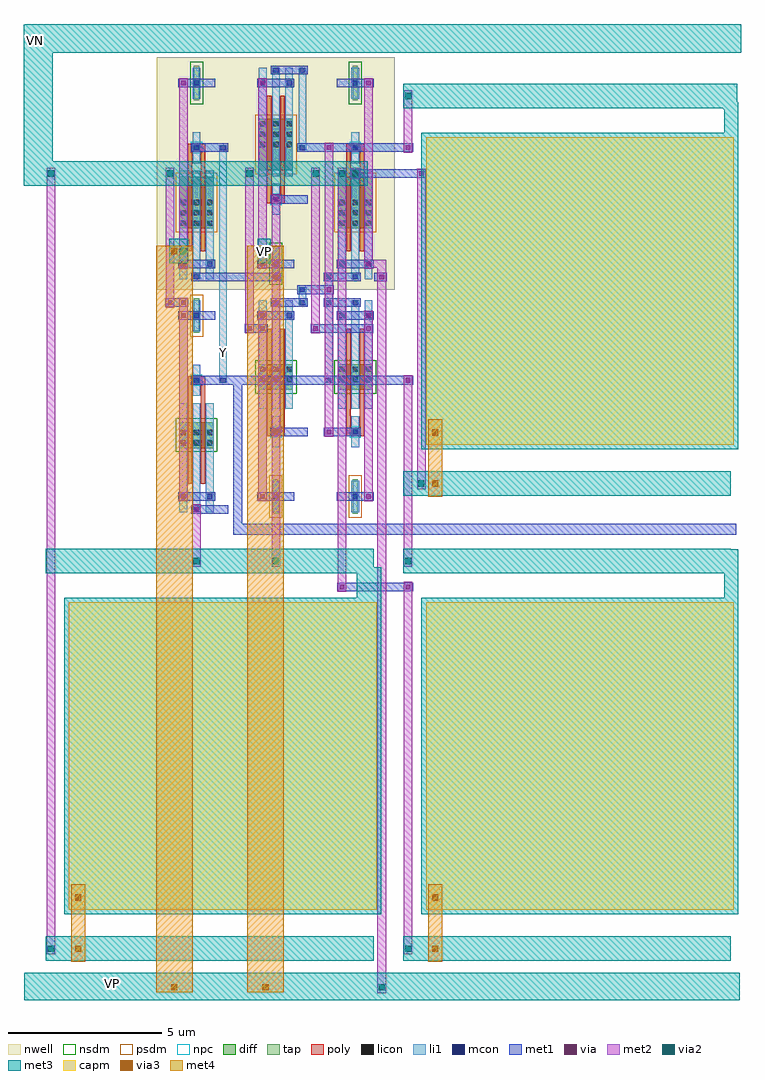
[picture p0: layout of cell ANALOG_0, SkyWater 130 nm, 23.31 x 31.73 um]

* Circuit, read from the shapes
.subckt ANALOG_0 VN VP Y
XM1 n1 Y VN VN sky130_fd_pr__nfet_01v8 w=0.84 l=0.15 m=2
XM2 n2 n1 VN VN sky130_fd_pr__nfet_01v8 w=0.84 l=0.15 m=2
XM3 Y n2 VN VN sky130_fd_pr__nfet_01v8 w=0.84 l=0.15 m=2
XM4 n1 Y VP VP sky130_fd_pr__pfet_01v8 w=1.68 l=0.15 m=2
XM5 n2 n1 VP VP sky130_fd_pr__pfet_01v8 w=1.68 l=0.15 m=2
XM6 Y n2 VP VP sky130_fd_pr__pfet_01v8 w=1.68 l=0.15 m=2
XC7 VN n1 sky130_fd_pr__cap_mim_m3_1 w=10 l=10
XC8 VN Y sky130_fd_pr__cap_mim_m3_1 w=10 l=10
XC9 VN n2 sky130_fd_pr__cap_mim_m3_1 w=10 l=10
.ends

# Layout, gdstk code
from math import pi, radians
import gdstk
lib = gdstk.Library(unit=1e-6, precision=1e-09)
def R(c, l, rs):  # rectangles x0, y0, x1, y1
    for r in rs: c.add(gdstk.rectangle(r[:2], r[2:], *l))
def A(c, l, x, y, w, h, nx, ny, dx, dy):  # array of equal rectangles
    R(c, l, [(x+i*dx, y+j*dy, x+i*dx+w, y+j*dy+h) for i in range(nx) for j in range(ny)])
nwell = (64, 20)
diff = (65, 20)
tap = (65, 44)
poly = (66, 20)
licon = (66, 44)
li1 = (67, 20)
mcon = (67, 44)
met1 = (68, 20)
via = (68, 44)
met2 = (69, 20)
via2 = (69, 44)
met3 = (70, 20)
via3 = (70, 44)
met4 = (71, 20)
capm = (89, 44)
nsdm = (93, 44)
psdm = (94, 20)
npc = (95, 20)

pmos_s_89421238_x1_y1_16 = lib.new_cell('PMOS_S_89421238_X1_Y1_1677518946')
R(pmos_s_89421238_x1_y1_16, nwell, [(0,0,2.58,7.56)])
R(pmos_s_89421238_x1_y1_16, diff, [(0.735,1.995,1.845,3.675)])
R(pmos_s_89421238_x1_y1_16, tap, [(1.205,6.16,1.375,7.28)])
R(pmos_s_89421238_x1_y1_16, poly, [(1,1.26,1.15,4.485), (1.43,1.26,1.58,4.485), (1,4.485,1.58,4.755)])
A(pmos_s_89421238_x1_y1_16, licon, 0.775, 2.075, 0.17, 0.17, 3, 3, 0.43, 0.34)
R(pmos_s_89421238_x1_y1_16, licon, [(1.205,4.535,1.375,4.705), (1.205,6.635,1.375,6.805)])
A(pmos_s_89421238_x1_y1_16, li1, 0.735, 0.335, 0.25, 3.53, 3, 1, 0.43, 0)
R(pmos_s_89421238_x1_y1_16, li1, [(1.165,4.115,1.415,5.125), (1.165,6.215,1.415,7.225)])
R(pmos_s_89421238_x1_y1_16, mcon, [(1.205,0.335,1.375,0.505), (0.775,0.755,0.945,0.925), (1.635,0.755,1.805,0.925), (1.205,4.535,1.375,4.705), (1.205,6.635,1.375,6.805)])
R(pmos_s_89421238_x1_y1_16, met1, [(0.26,0.28,1.46,0.56), (0.69,0.7,1.89,0.98), (0.26,4.48,1.46,4.76), (0.69,6.58,1.89,6.86)])
R(pmos_s_89421238_x1_y1_16, via, [(1.645,0.765,1.795,0.915), (1.645,6.645,1.795,6.795)])
R(pmos_s_89421238_x1_y1_16, met2, [(1.58,0.68,1.86,6.88)])
R(pmos_s_89421238_x1_y1_16, nsdm, [(1.08,6.035,1.5,7.405)])
R(pmos_s_89421238_x1_y1_16, psdm, [(0.61,1.87,1.97,3.8)])
R(pmos_s_89421238_x1_y1_16, npc, [(1.105,4.435,1.475,4.805)])

nmos_s_25628869_x1_y1_16 = lib.new_cell('NMOS_S_25628869_X1_Y1_1677518945')
R(nmos_s_25628869_x1_y1_16, diff, [(0.735,2.415,1.845,3.255)])
R(nmos_s_25628869_x1_y1_16, tap, [(1.205,6.16,1.375,7.28)])
R(nmos_s_25628869_x1_y1_16, poly, [(1,1.26,1.15,4.485), (1.43,1.26,1.58,4.485), (1,4.485,1.58,4.755)])
A(nmos_s_25628869_x1_y1_16, licon, 0.775, 2.495, 0.17, 0.17, 3, 2, 0.43, 0.34)
R(nmos_s_25628869_x1_y1_16, licon, [(1.205,4.535,1.375,4.705), (1.205,6.635,1.375,6.805)])
A(nmos_s_25628869_x1_y1_16, li1, 0.735, 0.335, 0.25, 3.53, 3, 1, 0.43, 0)
R(nmos_s_25628869_x1_y1_16, li1, [(1.165,4.115,1.415,5.125), (1.165,6.215,1.415,7.225)])
R(nmos_s_25628869_x1_y1_16, mcon, [(1.205,0.335,1.375,0.505), (0.775,0.755,0.945,0.925), (1.635,0.755,1.805,0.925), (1.205,4.535,1.375,4.705), (1.205,6.635,1.375,6.805)])
R(nmos_s_25628869_x1_y1_16, met1, [(0.26,0.28,1.46,0.56), (0.69,0.7,1.89,0.98), (0.26,4.48,1.46,4.76), (0.69,6.58,1.89,6.86)])
R(nmos_s_25628869_x1_y1_16, via, [(1.645,0.765,1.795,0.915), (1.645,6.645,1.795,6.795)])
R(nmos_s_25628869_x1_y1_16, met2, [(1.58,0.68,1.86,6.88)])
R(nmos_s_25628869_x1_y1_16, nsdm, [(0.61,2.29,1.97,3.38)])
R(nmos_s_25628869_x1_y1_16, psdm, [(1.08,6.035,1.5,7.405)])
R(nmos_s_25628869_x1_y1_16, npc, [(1.105,4.435,1.475,4.805)])

c_pmos_s_89421238_x1_y1_16 = lib.new_cell('PMOS_S_89421238_X1_Y1_1677518942_1677518943')
R(c_pmos_s_89421238_x1_y1_16, nwell, [(0,0,2.58,7.56)])
R(c_pmos_s_89421238_x1_y1_16, diff, [(0.735,1.995,1.845,3.675)])
R(c_pmos_s_89421238_x1_y1_16, tap, [(1.205,6.16,1.375,7.28)])
R(c_pmos_s_89421238_x1_y1_16, poly, [(1,1.26,1.15,4.485), (1.43,1.26,1.58,4.485), (1,4.485,1.58,4.755)])
A(c_pmos_s_89421238_x1_y1_16, licon, 0.775, 2.075, 0.17, 0.17, 3, 3, 0.43, 0.34)
R(c_pmos_s_89421238_x1_y1_16, licon, [(1.205,4.535,1.375,4.705), (1.205,6.635,1.375,6.805)])
A(c_pmos_s_89421238_x1_y1_16, li1, 0.735, 0.335, 0.25, 3.53, 3, 1, 0.43, 0)
R(c_pmos_s_89421238_x1_y1_16, li1, [(1.165,4.115,1.415,5.125), (1.165,6.215,1.415,7.225)])
R(c_pmos_s_89421238_x1_y1_16, mcon, [(1.205,0.335,1.375,0.505), (0.775,0.755,0.945,0.925), (1.635,0.755,1.805,0.925), (1.205,4.535,1.375,4.705), (1.205,6.635,1.375,6.805)])
R(c_pmos_s_89421238_x1_y1_16, met1, [(0.26,0.28,1.46,0.56), (0.69,0.7,1.89,0.98), (0.26,4.48,1.46,4.76), (0.69,6.58,1.89,6.86)])
R(c_pmos_s_89421238_x1_y1_16, via, [(1.645,0.765,1.795,0.915), (1.645,6.645,1.795,6.795)])
R(c_pmos_s_89421238_x1_y1_16, met2, [(1.58,0.68,1.86,6.88)])
R(c_pmos_s_89421238_x1_y1_16, nsdm, [(1.08,6.035,1.5,7.405)])
R(c_pmos_s_89421238_x1_y1_16, psdm, [(0.61,1.87,1.97,3.8)])
R(c_pmos_s_89421238_x1_y1_16, npc, [(1.105,4.435,1.475,4.805)])

c_nmos_s_25628869_x1_y1_16 = lib.new_cell('NMOS_S_25628869_X1_Y1_1677518941_1677518943')
R(c_nmos_s_25628869_x1_y1_16, diff, [(0.735,2.415,1.845,3.255)])
R(c_nmos_s_25628869_x1_y1_16, tap, [(1.205,6.16,1.375,7.28)])
R(c_nmos_s_25628869_x1_y1_16, poly, [(1,1.26,1.15,4.485), (1.43,1.26,1.58,4.485), (1,4.485,1.58,4.755)])
A(c_nmos_s_25628869_x1_y1_16, licon, 0.775, 2.495, 0.17, 0.17, 3, 2, 0.43, 0.34)
R(c_nmos_s_25628869_x1_y1_16, licon, [(1.205,4.535,1.375,4.705), (1.205,6.635,1.375,6.805)])
A(c_nmos_s_25628869_x1_y1_16, li1, 0.735, 0.335, 0.25, 3.53, 3, 1, 0.43, 0)
R(c_nmos_s_25628869_x1_y1_16, li1, [(1.165,4.115,1.415,5.125), (1.165,6.215,1.415,7.225)])
R(c_nmos_s_25628869_x1_y1_16, mcon, [(1.205,0.335,1.375,0.505), (0.775,0.755,0.945,0.925), (1.635,0.755,1.805,0.925), (1.205,4.535,1.375,4.705), (1.205,6.635,1.375,6.805)])
R(c_nmos_s_25628869_x1_y1_16, met1, [(0.26,0.28,1.46,0.56), (0.69,0.7,1.89,0.98), (0.26,4.48,1.46,4.76), (0.69,6.58,1.89,6.86)])
R(c_nmos_s_25628869_x1_y1_16, via, [(1.645,0.765,1.795,0.915), (1.645,6.645,1.795,6.795)])
R(c_nmos_s_25628869_x1_y1_16, met2, [(1.58,0.68,1.86,6.88)])
R(c_nmos_s_25628869_x1_y1_16, nsdm, [(0.61,2.29,1.97,3.38)])
R(c_nmos_s_25628869_x1_y1_16, psdm, [(1.08,6.035,1.5,7.405)])
R(c_nmos_s_25628869_x1_y1_16, npc, [(1.105,4.435,1.475,4.805)])

inv_21850877_pg0_0_0_167 = lib.new_cell('INV_21850877_PG0_0_0_1677518943')
R(inv_21850877_pg0_0_0_167, li1, [(0.305,7.055,0.555,8.065)])
R(inv_21850877_pg0_0_0_167, mcon, [(0.345,7.055,0.515,7.225), (0.345,7.895,0.515,8.065)])
R(inv_21850877_pg0_0_0_167, met1, [(0.27,2.8,0.59,3.08), (0.26,7,0.6,7.28), (0.26,7.84,0.6,8.12), (0.27,12.04,0.59,12.32)])
R(inv_21850877_pg0_0_0_167, via, [(0.355,2.865,0.505,3.015), (0.355,12.105,0.505,12.255)])
R(inv_21850877_pg0_0_0_167, met2, [(0.29,2.78,0.57,12.34)])
inv_21850877_pg0_0_0_167.add(gdstk.Reference(c_pmos_s_89421238_x1_y1_16, (0,7.56)))
inv_21850877_pg0_0_0_167.add(gdstk.Reference(c_nmos_s_25628869_x1_y1_16, (0,7.56), x_reflection=True))

cap_2t_51284459_16775189 = lib.new_cell('CAP_2T_51284459_1677518944')
R(cap_2t_51284459_16775189, met3, [(0.265,0.86,10.915,1.66), (0.86,2.37,11.16,12.67), (10.71,12.67,11.16,13.46), (0.265,13.46,11.16,13.66), (0.265,13.66,10.915,14.26)])
R(cap_2t_51284459_16775189, via3, [(1.21,1.16,1.41,1.36), (1.21,2.82,1.41,3.02)])
R(cap_2t_51284459_16775189, met4, [(1.085,0.83,1.535,3.35)])
R(cap_2t_51284459_16775189, capm, [(1.01,2.52,11.01,12.52)])

analog_0 = lib.new_cell('ANALOG_0')
R(analog_0, li1, [(5.895,19.655,6.145,27.385), (9.335,19.655,9.585,22.26), (8.475,22.175,8.725,22.765), (8.475,27.215,8.725,29.905)])
R(analog_0, mcon, [(5.935,19.655,6.105,19.825), (9.375,19.655,9.545,19.825), (8.515,22.175,8.685,22.345), (8.515,22.595,8.685,22.765), (5.935,27.215,6.105,27.385), (8.515,27.215,8.685,27.385), (8.515,29.735,8.685,29.905)])
R(analog_0, met1, [(9.73,12.88,12.2,13.16), (6.35,14.71,22.71,15.07), (6.35,15.07,6.65,19.6), (5,15.4,5.32,15.68), (7.58,17.92,7.9,18.2), (5.85,19.6,12.2,19.88), (6.72,21.28,7.47,21.56), (8.87,21.28,10.91,21.56), (4.14,22.12,4.89,22.4), (8.43,22.12,8.77,22.4), (8.43,22.54,9.62,22.82), (6.02,22.96,7.9,23.24), (10.93,22.96,11.34,23.24), (7.58,25.48,7.9,25.76), (10.16,26.32,12.63,26.6), (5.85,27.16,6.19,27.44), (8.43,27.16,9.46,27.44), (10.32,27.16,12.2,27.44), (8.43,29.68,8.77,29.96)])
A(analog_0, via, 7.235, 21.345, 0.15, 0.15, 3, 1, 1.72, 0)
R(analog_0, via, [(9.815,12.945,9.965,13.095), (11.965,12.945,12.115,13.095), (5.085,15.465,5.235,15.615), (7.665,17.985,7.815,18.135), (11.965,19.665,12.115,19.815), (6.805,21.345,6.955,21.495), (4.225,22.185,4.375,22.335), (4.655,22.185,4.805,22.335), (9.385,22.605,9.535,22.755), (7.665,23.025,7.815,23.175), (11.105,23.025,11.255,23.175), (7.665,25.545,7.815,25.695), (10.245,26.385,10.395,26.535), (12.395,26.385,12.545,26.535), (11.965,27.225,12.115,27.375)])
R(analog_0, met2, [(11.04,-0.185,11.32,23.39), (0.29,1.075,0.57,26.645), (11.9,1.075,12.18,13.18), (9.75,12.86,10.03,26.645), (5.02,13.675,5.3,15.7), (7.6,13.675,7.88,25.78), (11.9,13.675,12.18,19.9), (12.33,16.195,12.61,26.62), (6.74,21.26,7.02,26.645), (7.17,21.26,7.45,21.58), (8.89,21.26,9.17,26.645), (10.61,21.26,10.89,21.58), (4.59,21.84,4.87,22.42), (4.16,22.1,4.44,26.645), (9.32,22.52,9.6,22.84), (10.62,23.39,11.32,23.65), (4.59,23.755,4.87,24.125), (7.17,23.755,7.45,24.125), (10.18,26.275,10.46,26.645), (11.9,27.14,12.18,29.165)])
R(analog_0, via2, [(11.08,-0.1,11.28,0.1), (0.33,1.16,0.53,1.36), (11.94,1.16,12.14,1.36), (5.06,13.76,5.26,13.96), (7.64,13.76,7.84,13.96), (11.94,13.76,12.14,13.96), (12.37,16.28,12.57,16.48), (4.63,23.84,4.83,24.04), (7.21,23.84,7.41,24.04), (0.33,26.36,0.53,26.56), (4.2,26.36,4.4,26.56), (6.78,26.36,6.98,26.56), (8.93,26.36,9.13,26.56), (9.79,26.36,9.99,26.56), (10.22,26.36,10.42,26.56), (11.94,28.88,12.14,29.08)])
R(analog_0, met3, [(-0.44,-0.41,22.82,0.47), (0.265,0.86,0.595,1.66), (11.875,0.86,12.205,1.66), (10.37,12.55,10.79,13.8), (22.33,13.32,22.77,14.25), (4.995,13.46,5.325,14.26), (7.575,13.46,7.905,14.26), (11.875,13.46,12.205,14.26), (12.305,15.98,12.635,16.78), (4.275,23.54,4.895,24.34), (7.145,23.54,7.565,24.34), (-0.45,26.06,10.72,26.86), (-0.45,26.86,0.49,30.38), (22.29,28.55,22.74,29.37), (11.875,28.58,12.205,29.38), (-0.45,30.38,22.86,31.29), (-0.43,31.29,22.86,31.32)])
R(analog_0, via3, [(4.34,-0.1,4.54,0.1), (7.3,-0.1,7.5,0.1), (4.34,23.84,4.54,24.04), (7.3,23.84,7.5,24.04)])
R(analog_0, met4, [(3.85,-0.165,5.03,24.105), (6.81,-0.165,7.99,24.105)])
analog_0.add(gdstk.Reference(pmos_s_89421238_x1_y1_16, (9.03,30.24), rotation=pi))
analog_0.add(gdstk.Reference(pmos_s_89421238_x1_y1_16, (6.45,22.68), rotation=pi, x_reflection=True))
analog_0.add(gdstk.Reference(nmos_s_25628869_x1_y1_16, (6.45,15.12), rotation=pi, x_reflection=True))
analog_0.add(gdstk.Reference(nmos_s_25628869_x1_y1_16, (9.03,22.68), rotation=pi))
analog_0.add(gdstk.Reference(inv_21850877_pg0_0_0_167, (9.03,15.12)))
analog_0.add(gdstk.Reference(cap_2t_51284459_16775189, (0,0)))
analog_0.add(gdstk.Reference(cap_2t_51284459_16775189, (11.61,15.12)))
analog_0.add(gdstk.Reference(cap_2t_51284459_16775189, (11.61,0)))
analog_0.add(gdstk.Label('VP', (7.355,23.94), layer=70, texttype=5))
analog_0.add(gdstk.Label('VN', (-0.06,30.78), layer=70, texttype=5))
analog_0.add(gdstk.Label('VP', (2.43,0.13), layer=70, texttype=5))
analog_0.add(gdstk.Label('Y', (6.02,20.64), layer=67, texttype=5))

lib.write_gds('ANALOG_0.gds')
